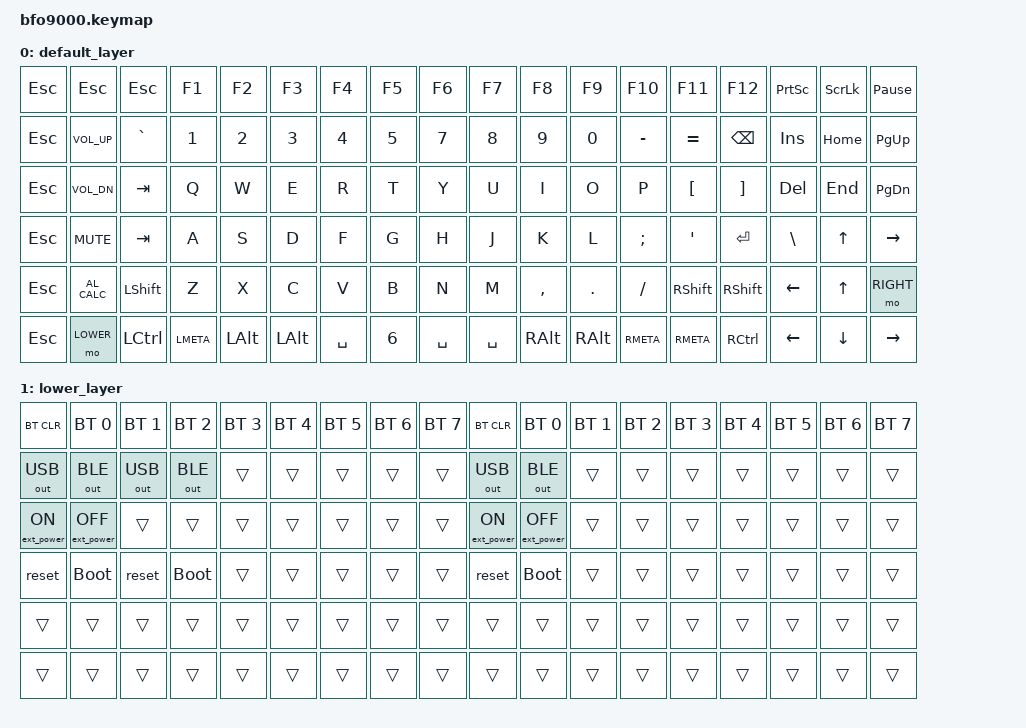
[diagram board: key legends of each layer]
/*
 * Copyright (c) 2020 The ZMK Contributors
 *
 * SPDX-License-Identifier: MIT
 */

#include <behaviors.dtsi>
#include <dt-bindings/zmk/keys.h>
#include <dt-bindings/zmk/bt.h>
#include <dt-bindings/zmk/outputs.h>
#include <dt-bindings/zmk/ext_power.h>
#include <dt-bindings/zmk/rgb.h>

#define DEFAULT 0
#define LOWER   1

/ {
	keymap {
		compatible = "zmk,keymap";

		default_layer {
			// | Esc   | Esc          | Esc      | F1     | F2     | F3      | F4      | F5      | F6      | F7       | F8      | F9      | F10     | F11    | F12     | Pr Scr  | Sc Lock | Pause Break |
			// | Esc   | Vol Up       | `        | 1      | 2      | 3       | 4       | 5       | 7       | 8        | 9       | 0       | -       | =      | Bk Spc  | Ins     | Home    | Page up     |
			// | Esc   | Vol Dn       | Tab      | Q      | W      | E       | R       | T       | Y       | U        | I       | O       | P       | [      | ]       | Del     | End     | Page down   |
			// | Esc   | Vol Mute     | Tab      | A      | S      | D       | F       | G       | H       | J        | K       | L       | ;       | '      | Enter   | \       | Up      | Right       |
			// | Esc   | Calc         | Shift    | Z      | X      | C       | V       | B       | N       | M        | ,       | .       | /       | Shift  | Shift   | Left    | Up      | Right       |
			// | Esc   | LOWER        | Ctrl     | Win    | Alt    | Alt     | Spc     | 6       | Spc     | Spc      | Alt     | Alt     | Win     | Win    | Ctrl    | Left    | Dn      | Right       |
			bindings = <
			&kp ESC   &kp ESC       &kp ESC   &kp F1    &kp F2   &kp F3    &kp F4    &kp F5    &kp F6    &kp F7     &kp F8    &kp F9    &kp F10   &kp F11   &kp F12   &kp PSCRN &kp SLCK   &kp PAUSE_BREAK
			&kp ESC   &kp C_VOL_UP  &kp GRAVE &kp N1    &kp N2   &kp N3    &kp N4    &kp N5    &kp N7    &kp N8     &kp N9    &kp N0    &kp MINUS &kp EQUAL &kp BSPC  &kp INS   &kp HOME   &kp PG_UP
			&kp ESC   &kp C_VOL_DN  &kp TAB   &kp Q     &kp W    &kp E     &kp R     &kp T     &kp Y     &kp U      &kp I     &kp O     &kp P     &kp LBKT  &kp RBKT  &kp DEL   &kp END    &kp PG_DN
			&kp ESC   &kp C_MUTE    &kp TAB   &kp A     &kp S    &kp D     &kp F     &kp G     &kp H     &kp J      &kp K     &kp L     &kp SEMI  &kp APOS  &kp ENTER &kp BSLH  &kp UP     &kp RIGHT
			&kp ESC   &kp C_AL_CALC &kp LSHFT &kp Z     &kp X    &kp C     &kp V     &kp B     &kp N     &kp M      &kp COMMA &kp DOT   &kp SLASH &kp RSHFT &kp RSHFT &kp LEFT  &kp UP     &mo RIGHT
			&kp ESC   &mo LOWER     &kp LCTRL &kp LMETA &kp LALT &kp LALT  &kp SPACE &kp N6    &kp SPACE &kp SPACE  &kp RALT  &kp RALT  &kp RMETA &kp RMETA &kp RCTRL &kp LEFT  &kp DOWN   &kp RIGHT
			>;
		};

		lower_layer {
			// | | | | | | | | | | | | | | | | | | |
			// | | | | | | | | | | | | | | | | | | |
			// | | | | | | | | | | | | | | | | | | |
			// | | | | | | | | | | | | | | | | | | |
			// | | | | | | | | | | | | | | | | | | |
			// | | | | | | | | | | | | | | | | | | |
			bindings = <
			&bt BT_CLR       &bt BT_SEL 0      &bt BT_SEL 1    &bt BT_SEL 2    &bt BT_SEL 3    &bt BT_SEL 4    &bt BT_SEL 5 &bt BT_SEL 6 &bt BT_SEL 7 &bt BT_CLR       &bt BT_SEL 0      &bt BT_SEL 1    &bt BT_SEL 2    &bt BT_SEL 3    &bt BT_SEL 4    &bt BT_SEL 5 &bt BT_SEL 6 &bt BT_SEL 7
			&out OUT_USB     &out OUT_BLE      &out OUT_USB    &out OUT_BLE    &trans          &trans          &trans       &trans       &trans       &out OUT_USB     &out OUT_BLE      &trans          &trans          &trans          &trans          &trans       &trans       &trans
			&ext_power EP_ON &ext_power EP_OFF &trans          &trans          &trans          &trans          &trans       &trans       &trans       &ext_power EP_ON &ext_power EP_OFF &trans          &trans          &trans          &trans          &trans       &trans       &trans
			&reset           &bootloader       &reset          &bootloader     &trans          &trans          &trans       &trans       &trans       &reset           &bootloader       &trans          &trans          &trans          &trans          &trans       &trans       &trans
			&trans           &trans            &trans          &trans          &trans          &trans          &trans       &trans       &trans       &trans           &trans            &trans          &trans          &trans          &trans          &trans       &trans       &trans
			&trans           &trans            &trans          &trans          &trans          &trans          &trans       &trans       &trans       &trans           &trans            &trans          &trans          &trans          &trans          &trans       &trans       &trans
			>;
		};
	};
};

&kscan0 {
    diode-direction = "row2col";
};
